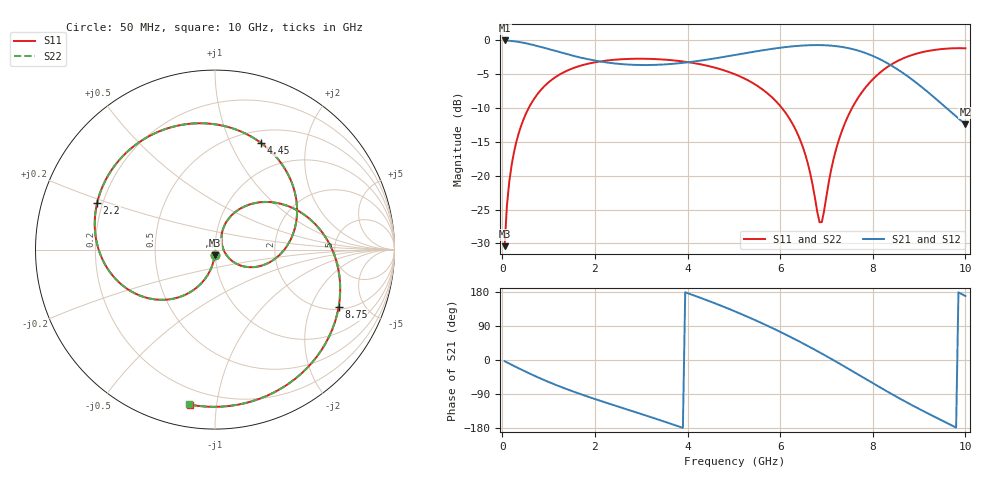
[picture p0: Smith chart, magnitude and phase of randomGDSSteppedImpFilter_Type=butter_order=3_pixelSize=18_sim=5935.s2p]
! freq	dB(S11)	phase(S11)	dB(S12)	phase(S12)
!  dB(S21)	phase(S21)	dB(S22)	phase(S22)
!S-par simulation data
#  GHz  S  DB  R 50
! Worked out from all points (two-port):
!   200 points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, 50 MHz to 10 GHz, reference 50 ohm
!   highest |S21| = -0.01 dB at 50 MHz (marker M1); lowest = -12.4 dB at 10 GHz (marker M2)
!   |S21| within 3 dB of the highest: start of sweep to 2.024 GHz; 4.258 GHz to 8.218 GHz (3.961 GHz wide, 63.5 % of centre)
!   lowest |S11| = -30.4 dB at 50 MHz (marker M3), VSWR 1.06, Z = 49.7 - j3 ohm
!   |S11| at or under -10 dB: start of sweep to 569.7 MHz; 6.04 GHz to 7.552 GHz (1.513 GHz wide, 22.3 % of centre)
!   |S22| runs from -30.4 to -1.1 dB; largest |S21 - S12| = 0
!   S11 on the Smith chart (normalised r, x): 50 MHz: 0.99, -0.06; 2.2 GHz: 0.18, +0.19; 4.45 GHz: 0.64, +1.31; 8.75 GHz: 2.14, -3.22; 10 GHz: 0.11, -0.84
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0.05  -30.40 -93.3  -0.01 -3.2  -0.01 -3.2  -30.40 -93.3
0.1  -24.40 -96.6  -0.02 -6.3  -0.02 -6.3  -24.40 -96.6
0.2  -18.48 -103.0  -0.08 -12.5  -0.08 -12.5  -18.48 -103.0
0.5  -10.98 -121.1  -0.41 -30.5  -0.41 -30.5  -10.98 -121.1
1.05  -5.91 -151.0  -1.37 -60.5  -1.37 -60.5  -5.91 -151.0
1.75  -3.62 176.8  -2.63 -92.6  -2.63 -92.6  -3.62 176.8
2.2  -3.02 158.4  -3.20 -111.1  -3.20 -111.1  -3.02 158.4
3.4  -2.79 111.2  -3.59 -158.5  -3.59 -158.5  -2.79 111.2
4.45  -3.78 66.7  -2.81 156.3  -2.81 156.3  -3.78 66.7
5.05  -5.08 38.3  -2.12 127.0  -2.12 127.0  -5.08 38.3
5.95  -9.28 -7.8  -1.13 77.3  -1.13 77.3  -9.28 -7.8
6.4  -14.17 -29.3  -0.80 49.7  -0.80 49.7  -14.16 -29.2
6.7  -21.31 -30.5  -0.69 30.3  -0.69 30.3  -21.28 -30.1
6.85  -26.86 5.3  -0.69 20.3  -0.69 20.3  -26.73 5.5
6.9  -26.84 29.6  -0.70 16.9  -0.70 16.9  -26.70 29.4
7.15  -17.62 68.9  -0.80 -0.3  -0.80 -0.3  -17.60 68.6
7.4  -12.21 61.0  -1.04 -17.9  -1.04 -17.9  -12.20 60.7
7.9  -6.49 30.8  -2.01 -53.8  -2.01 -53.8  -6.49 30.7
8.35  -3.77 1.1  -3.50 -85.8  -3.50 -85.8  -3.77 1.0
8.75  -2.39 -24.8  -5.28 -112.9  -5.28 -112.9  -2.39 -24.9
9.4  -1.34 -64.3  -8.85 -153.9  -8.85 -153.9  -1.34 -64.4
10  -1.16 -99.2  -12.37 168.9  -12.37 168.9  -1.16 -99.4
